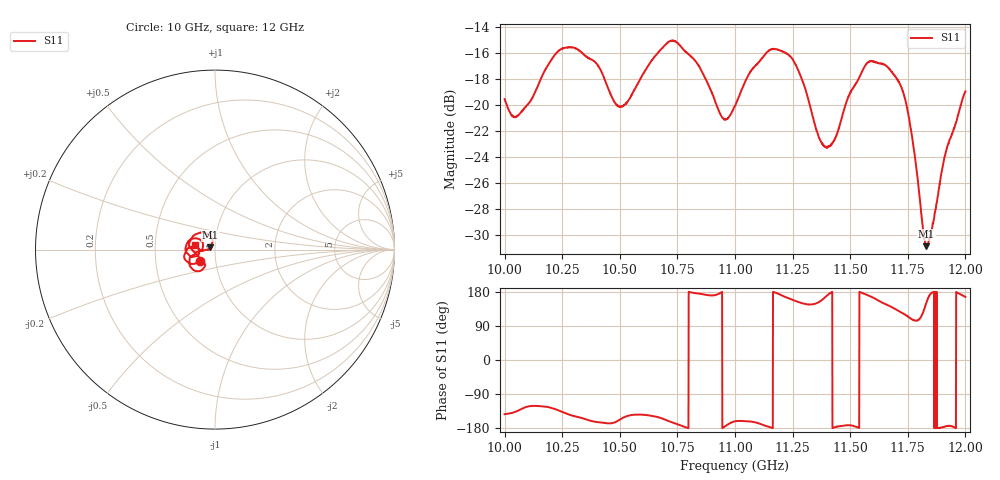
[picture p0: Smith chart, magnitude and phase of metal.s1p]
[Version] 2.0
! Rohde & Schwarz Vector Network Analyzer
! Rohde-Schwarz,ZNL20-2Port,1323001220200009,1.71.1.10-23.02.1.238
! Port Assignments:
! Nominal Port -> Actual Test Port
!  1 -> 1
! Created: GMT 2024-08-27 14:01:02
# Hz S DB R 50
[Number of Ports] 1
! freq[Hz]  S11[mag dB]  S11[ang]
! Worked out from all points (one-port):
!   2001 points, 10 GHz to 12 GHz, reference 50 ohm
!   lowest |S11| = -30.8 dB at 11.83 GHz (marker M1), VSWR 1.06, Z = 47.5 + j1.32 ohm
!   |S11| at or under -10 dB: start of sweep to end of sweep
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[Number of Frequencies] 28
[Network Data]
1e10  -19.53 -143.1
1.006e10  -20.74 -133.2
1.025e10  -15.64 -137.0
1.0394e10  -16.70 -163.2
1.05e10  -20.11 -157.3
1.0644e10  -16.42 -147.9
1.075e10  -15.20 -169.5
1.0843e10  -16.97 175.3
1.0946e10  -20.96 -179.4
1.1e10  -20.05 -161.9
1.1064e10  -17.51 -162.0
1.1145e10  -15.83 -176.0
1.125e10  -16.45 158.7
1.1299e10  -18.40 148.8
1.1361e10  -22.31 151.9
1.1392e10  -23.18 166.2
1.1435e10  -22.54 -177.1
1.15e10  -19.03 -172.2
1.1576e10  -16.72 171.1
1.1643e10  -16.85 150.2
1.1713e10  -18.27 128.5
1.175e10  -20.51 114.5
1.1783e10  -24.25 104.1
1.1818e10  -29.84 128.1
1.1831e10  -30.83 151.2
1.1855e10  -29.46 177.3
1.1915e10  -23.58 -175.0
1.2e10  -18.93 166.6
[End]
